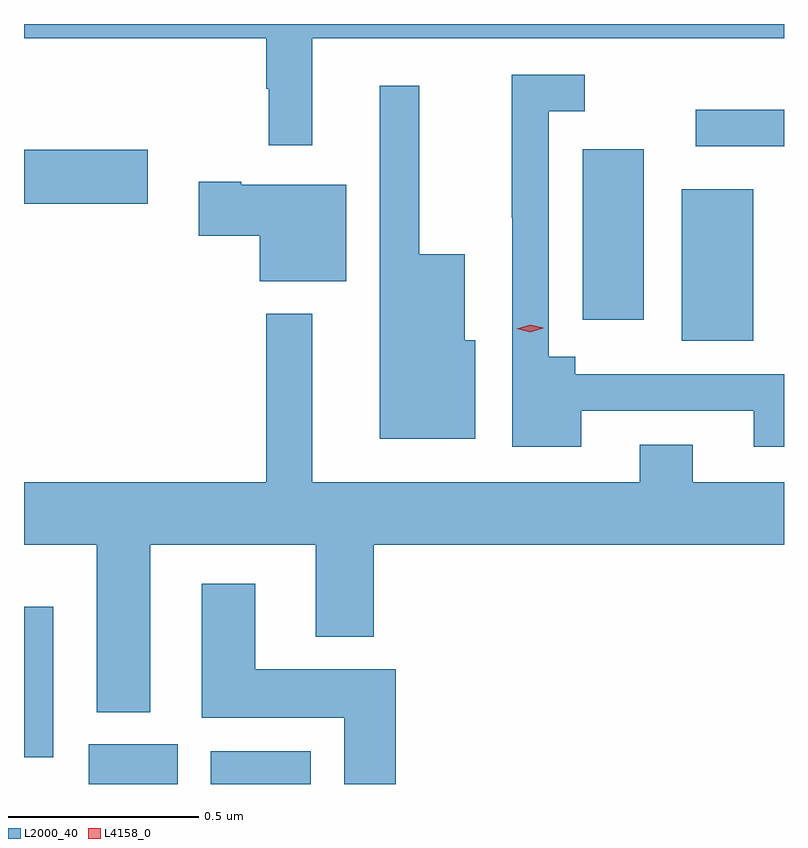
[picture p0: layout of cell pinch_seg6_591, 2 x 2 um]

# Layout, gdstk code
import gdstk
lib = gdstk.Library(unit=1e-6, precision=1e-09)
def R(c, l, rs):  # rectangles x0, y0, x1, y1
    for r in rs: c.add(gdstk.rectangle(r[:2], r[2:], *l))
def P(c, l, *ps):  # polygons
    for p in ps: c.add(gdstk.Polygon(p, *l))
L2000_40 = (2000, 40)
L4158_0 = (4158, 0)

pinch_seg6_591 = lib.new_cell('pinch_seg6_591')
R(pinch_seg6_591, L2000_40, [(588.488,961.358,588.721,961.462), (588.809,961.358,589.072,961.444), (588.317,961.428,588.394,961.825), (590.048,962.525,590.236,962.923), (589.787,962.58,589.948,963.028), (588.317,962.885,588.643,963.027), (590.085,963.036,590.317,963.132)])
P(pinch_seg6_591, L2000_40, [(589.075,963.32),(590.317,963.32),(590.317,963.358),(588.317,963.358),(588.317,963.32),(588.954,963.32),(588.954,963.188),(588.961,963.188),(588.961,963.039),(589.075,963.039)],
  [(589.783,962.34),(590.237,962.34),(590.237,962.246),(590.317,962.246),(590.317,962.436),(589.768,962.436),(589.768,962.482),(589.698,962.482),(589.698,963.129),(589.792,963.129),(589.792,963.225),(589.6,963.225),(589.6,962.848),(589.602,962.848),(589.602,962.246),(589.783,962.246)],
  [(589.504,962.526),(589.477,962.526),(589.477,962.752),(589.357,962.752),(589.357,963.196),(589.253,963.196),(589.253,962.267),(589.504,962.267)],
  [(589.165,962.935),(588.889,962.935),(588.889,962.943),(588.777,962.943),(588.777,962.801),(588.938,962.801),(588.938,962.681),(589.165,962.681)],
  [(588.649,961.988),(589.085,961.988),(589.085,961.745),(589.238,961.745),(589.238,961.988),(590.317,961.988),(590.317,962.152),(590.077,962.152),(590.077,962.251),(589.937,962.251),(589.937,962.152),(589.075,962.152),(589.075,962.596),(588.954,962.596),(588.954,962.152),(588.317,962.152),(588.317,961.988),(588.509,961.988),(588.509,961.547),(588.649,961.547)],
  [(589.295,961.66),(588.925,961.66),(588.925,961.885),(588.785,961.885),(588.785,961.532),(589.16,961.532),(589.16,961.358),(589.295,961.358)])
P(pinch_seg6_591, L4158_0, [(589.649,962.547),(589.614,962.556),(589.614,962.556),(589.614,962.556),(589.649,962.567),(589.684,962.559),(589.684,962.558),(589.684,962.558)])

lib.write_gds('pinch_seg6_591.gds')
